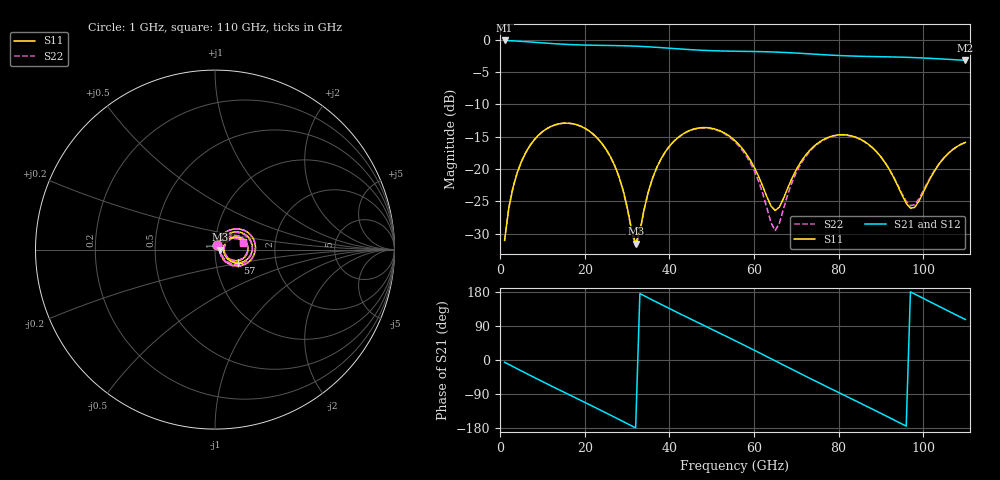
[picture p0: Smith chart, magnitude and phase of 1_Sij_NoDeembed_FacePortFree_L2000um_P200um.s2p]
! Touchstone file exported from HFSS 2024.2.0
!  File:  C:/Users/vaintrug/Documents/Ansoft_Workspace/Comparaison_Calculs_HFSS/1_VarPort.aedt
!  Generated:  03:22:18 PM Jan 21, 2025
!  Design:  1_NoDeembed_FacePortFree
!  Project:  1_VarPort
!  Setup:  Setup1
!  Solution:  Sweep
! Variables:
!  $Lenght = 2000um
!  $PortSize = 200um
!  Gap = 30um
!  Th = 2um
!  X_centralStrip = 20um
!  X_masse = 200um
!  Y_Sub = 2mm
!  Z_Box = 400um
!  Z_Sub = 200um
# GHz S MA R 50.000000
! Terminal data exported
! Port[1] = 1
! Port[2] = 2
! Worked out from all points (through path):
!   110 points, 1 GHz to 110 GHz, reference 50 ohm
!   highest |S21| = -0.13 dB at 1 GHz (marker M1); lowest = -3.2 dB at 110 GHz (marker M2)
!   group delay of S21, straight-line fit = 15.4 ps
!   lowest |S11| = -31.5 dB at 32 GHz (marker M3), VSWR 1.05, Z = 52.7 + j0.0421 ohm
!   |S11| at or under -10 dB: start of sweep to end of sweep
!   |S22| runs from -32.0 to -12.9 dB; largest |S21 - S12| = 2e-15
!   S11 on the Smith chart (normalised r, x): 1 GHz: 1.03, +0.05; 57 GHz: 1.27, -0.19; 110 GHz: 1.36, +0.13
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1  0.028 61.5  0.9854 -5.9  0.9854 -5.9  0.028 61.4
! Gamma 5.72345672418037 49.6381603691585 6.00844347354525 50.3100949352185
! Port Impedance 50 0 50 0
3  0.07216 65.8  0.9782 -17.4  0.9782 -17.4  0.07216 65.7
7  0.1517 48.8  0.9597 -40.3  0.9597 -40.3  0.1516 48.6
13  0.2196 18.2  0.929 -73.8  0.929 -73.8  0.2194 17.6
20  0.2062 -16.7  0.9078 -112.0  0.9078 -112.0  0.2058 -17.6
27  0.1069 -46.3  0.8996 -150.8  0.8996 -150.8  0.1063 -47.8
32  0.02646 0.9  0.8899 -179.1  0.8899 -179.1  0.02526 0.1
35  0.06655 53.7  0.88 163.8  0.88 163.8  0.06619 53.3
38  0.1195 48.8  0.8674 146.9  0.8674 146.9  0.1192 47.8
43  0.1847 28.5  0.8448 119.2  0.8448 119.2  0.184 26.7
47  0.2076 10.5  0.8297 97.4  0.8297 97.4  0.2063 8.2
56  0.1595 -27.1  0.8129 48.3  0.8129 48.3  0.1559 -31.8
57  0.1469 -30.4  0.812 42.8  0.812 42.8  0.1428 -35.6
61  0.08887 -36.7  0.8081 20.5  0.8081 20.5  0.08162 -45.2
65  0.0477 -0.7  0.8013 -2.1  0.8013 -2.1  0.03335 -0.4
70  0.09876 37.3  0.7872 -30.3  0.7872 -30.3  0.09392 44.3
74  0.148 28.3  0.773 -52.7  0.773 -52.7  0.1456 32.4
83  0.1804 -6.4  0.7471 -102.1  0.7471 -102.1  0.1795 -4.6
92  0.09922 -33.2  0.7354 -152.0  0.7354 -152.0  0.09952 -31.7
98  0.0504 10.5  0.7259 174.2  0.7259 174.2  0.05286 10.1
104  0.1115 34.1  0.7099 140.3  0.7099 140.3  0.1124 32.1
110  0.1603 16.3  0.692 106.8  0.692 106.8  0.16 14.1
